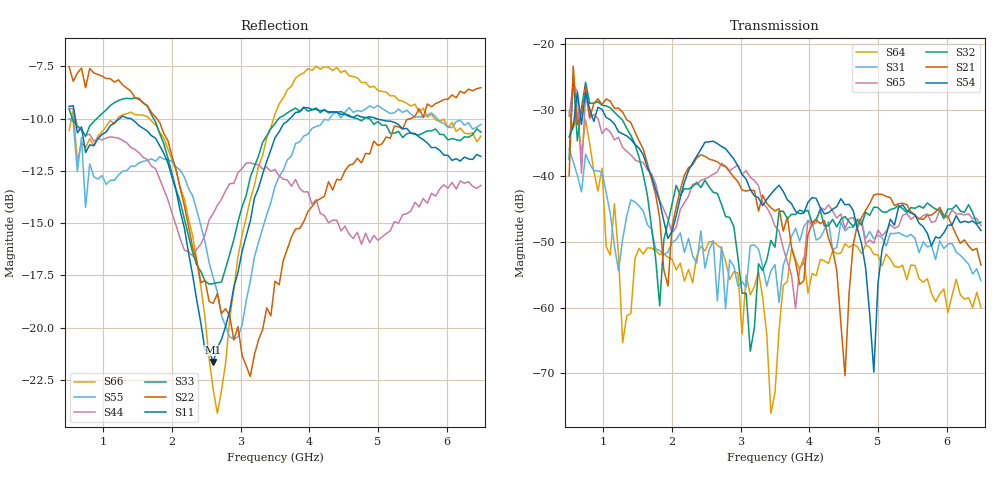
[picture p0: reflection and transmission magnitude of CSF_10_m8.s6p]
!Keysight Technologies,M9804A,MY58100912,A.14.10.03
!Date: Thursday, April 27, 2023 10:28:33
!Correction: S11(C  6-Port  )
!S12(C  6-Port  )
!S13(C  6-Port  )
!S14(C  6-Port  )
!S15(C  6-Port  )
!S16(C  6-Port  )
!S21(C  6-Port  )
!S22(C  6-Port  )
!S23(C  6-Port  )
!S24(C  6-Port  )
!S25(C  6-Port  )
!S26(C  6-Port  )
!S31(C  6-Port  )
!S32(C  6-Port  )
!S33(C  6-Port  )
!S34(C  6-Port  )
!S35(C  6-Port  )
!S36(C  6-Port  )
!S41(C  6-Port  )
!S42(C  6-Port  )
!S43(C  6-Port  )
!S44(C  6-Port  )
!S45(C  6-Port  )
!S46(C  6-Port  )
!S51(C  6-Port  )
!S52(C  6-Port  )
!S53(C  6-Port  )
!S54(C  6-Port  )
!S55(C  6-Port  )
!S56(C  6-Port  )
!S61(C  6-Port  )
!S62(C  6-Port  )
!S63(C  6-Port  )
!S64(C  6-Port  )
!S65(C  6-Port  )
!S66(C  6-Port  )
!S6P File: Measurement: :
# Hz S  RI  R 50
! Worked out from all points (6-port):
!   101 points, 500 MHz to 6.5 GHz, reference 50 ohm
!   strongest paths, dB at 500 MHz, 2 GHz, 3.5 GHz, 5 GHz, 6.5 GHz:
!     S54: -34.1, -48.4, -42.0, -56.4, -48.3
!     S21: -40.0, -47.7, -45.3, -42.8, -53.5
!     S32: -37.5, -44.3, -50.8, -44.8, -47.0
!     S65: -30.9, -48.7, -47.6, -48.2, -47.5
!     S31: -35.9, -50.1, -53.5, -49.0, -55.9
!     S64: -30.2, -52.6, -72.9, -52.0, -60.0
!   lowest |S11| = -21.6 dB at 2.6 GHz (marker M1), VSWR 1.18, Z = 42.6 + j2.06 ohm
!   |S11| at or under -10 dB: 588.4 MHz to 1.236 GHz (647.2 MHz wide, 71 % of centre); 1.4 GHz to 3.718 GHz (2.319 GHz wide, 90.6 % of centre); 4.974 GHz to end of sweep
